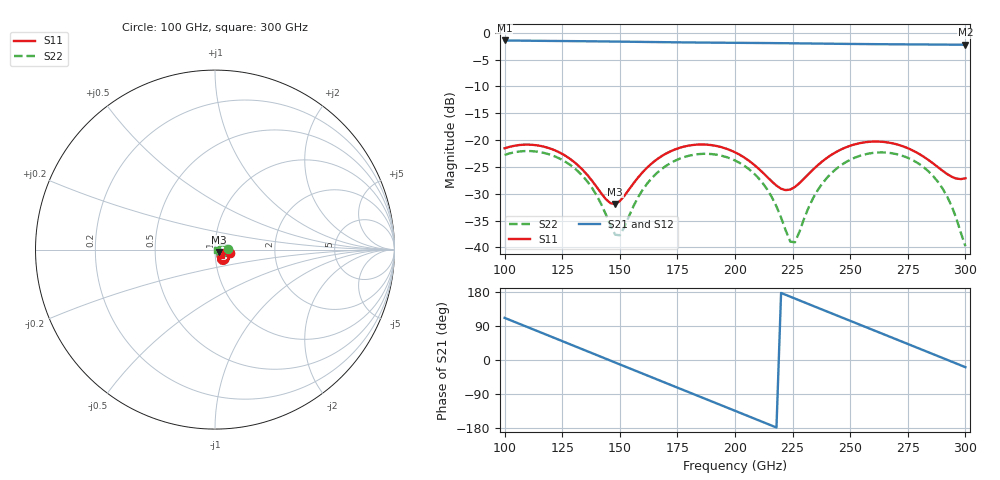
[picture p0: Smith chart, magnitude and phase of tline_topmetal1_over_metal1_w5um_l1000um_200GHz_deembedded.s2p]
! Created with skrf 2.0.1 (http://scikit-rf.org).
# GHz S DB R 50.0
!freq dBS11 angS11 dBS21 angS21 dBS12 angS12 dBS22 angS22
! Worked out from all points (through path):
!   101 points, 100 GHz to 300 GHz, reference 50 ohm
!   highest |S21| = -1.42 dB at 100 GHz (marker M1); lowest = -2.2 dB at 300 GHz (marker M2)
!   group delay of S21, straight-line fit = 6.81 ps
!   lowest |S11| = -31.9 dB at 148 GHz (marker M3), VSWR 1.05, Z = 52.2 - j1.44 ohm
!   |S11| at or under -10 dB: start of sweep to end of sweep
!   |S22| runs from -39.8 to -22.0 dB; largest |S21 - S12| = 9.4e-14
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100  -21.54 -13.7  -1.42 111.2  -1.42 111.2  -22.77 2.6
108  -20.86 -28.7  -1.46 91.6  -1.46 91.6  -22.06 -11.6
116  -21.12 -43.7  -1.50 72.0  -1.50 72.0  -22.29 -26.2
134  -25.60 -69.2  -1.57 27.8  -1.57 27.8  -26.75 -55.4
140  -28.76 -67.0  -1.59 13.0  -1.59 13.0  -30.35 -59.1
148  -31.91 -32.9  -1.63 -6.7  -1.63 -6.7  -37.64 -25.3
150  -31.37 -21.7  -1.64 -11.6  -1.64 -11.6  -37.75 -2.1
160  -25.95 -3.7  -1.70 -36.1  -1.70 -36.1  -29.22 33.5
168  -23.04 -11.1  -1.74 -55.7  -1.74 -55.7  -25.45 24.9
184  -20.83 -36.8  -1.81 -94.9  -1.81 -94.9  -22.62 -3.3
200  -22.27 -62.1  -1.86 -134.0  -1.86 -134.0  -23.80 -33.6
214  -26.88 -67.7  -1.91 -168.4  -1.91 -168.4  -29.21 -54.3
224  -29.21 -37.2  -1.95 167.1  -1.95 167.1  -38.93 -21.2
226  -28.74 -30.0  -1.96 162.2  -1.96 162.2  -39.05 6.4
234  -25.45 -17.0  -2.00 142.5  -2.00 142.5  -30.74 43.0
242  -22.71 -20.7  -2.03 123.0  -2.03 123.0  -26.10 35.1
252  -20.79 -33.5  -2.08 98.5  -2.08 98.5  -23.28 17.4
268  -20.57 -57.5  -2.14 59.5  -2.14 59.5  -22.45 -14.3
278  -22.12 -69.4  -2.16 35.0  -2.16 35.0  -23.94 -34.0
288  -25.02 -71.5  -2.19 10.5  -2.19 10.5  -27.74 -50.8
294  -26.83 -61.9  -2.21 -4.2  -2.21 -4.2  -32.27 -54.2
300  -27.12 -44.4  -2.23 -19.0  -2.23 -19.0  -39.78 -19.6
